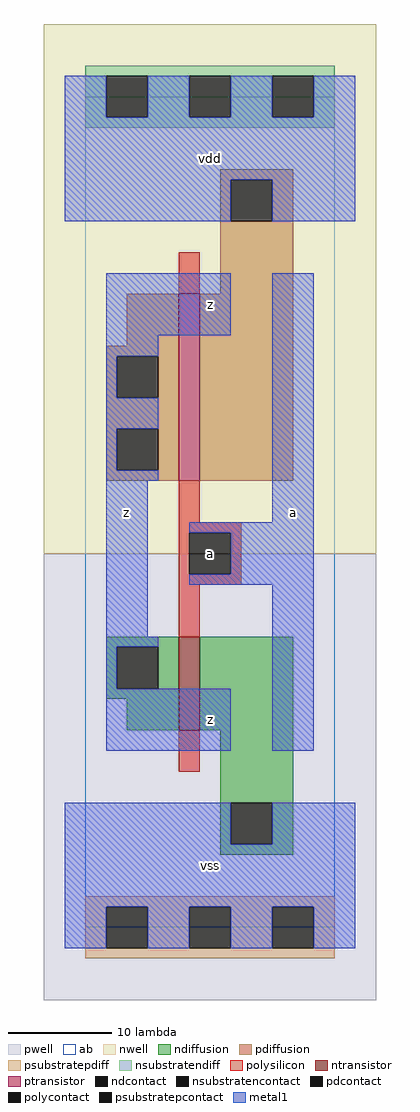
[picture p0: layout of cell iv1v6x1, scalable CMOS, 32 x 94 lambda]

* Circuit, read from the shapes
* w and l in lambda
.subckt iv1v6x1 a vdd vss z
M1 vss a z vss nfet w=9 l=2
M2 vdd a z vdd pfet w=18 l=2
.ends

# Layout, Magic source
magic
tech scmos
<< ab >>
rect 0 0 24 80
<< pwell >>
rect -4 -7 28 36
<< nwell >>
rect -4 36 28 87
<< polysilicon >>
rect 9 61 11 65
rect 9 39 11 43
rect 9 38 15 39
rect 9 34 10 38
rect 14 34 15 38
rect 9 33 15 34
rect 9 28 11 33
rect 9 15 11 19
<< ndiffusion >>
rect 2 27 9 28
rect 2 23 3 27
rect 7 23 9 27
rect 2 22 9 23
rect 4 19 9 22
rect 11 19 20 28
rect 13 12 20 19
rect 13 8 14 12
rect 18 8 20 12
rect 13 7 20 8
<< pdiffusion >>
rect 13 72 20 73
rect 13 68 14 72
rect 18 68 20 72
rect 13 61 20 68
rect 4 56 9 61
rect 2 55 9 56
rect 2 51 3 55
rect 7 51 9 55
rect 2 48 9 51
rect 2 44 3 48
rect 7 44 9 48
rect 2 43 9 44
rect 11 43 20 61
<< metal1 >>
rect -2 78 2 82
rect 6 78 10 82
rect 14 78 18 82
rect 22 78 26 82
rect -2 72 26 78
rect -2 68 14 72
rect 18 68 26 72
rect 2 57 14 63
rect 2 55 7 57
rect 2 51 3 55
rect 2 48 7 51
rect 2 44 3 48
rect 2 43 7 44
rect 2 28 6 43
rect 18 39 22 63
rect 10 38 22 39
rect 14 34 22 38
rect 10 33 22 34
rect 2 27 7 28
rect 2 23 3 27
rect 2 17 14 23
rect 18 17 22 33
rect -2 8 14 12
rect 18 8 26 12
rect -2 2 26 8
rect -2 -2 2 2
rect 6 -2 10 2
rect 14 -2 18 2
rect 22 -2 26 2
<< ntransistor >>
rect 9 19 11 28
<< ptransistor >>
rect 9 43 11 61
<< polycontact >>
rect 10 34 14 38
<< ndcontact >>
rect 3 23 7 27
rect 14 8 18 12
<< pdcontact >>
rect 14 68 18 72
rect 3 51 7 55
rect 3 44 7 48
<< psubstratepcontact >>
rect 2 -2 6 2
rect 10 -2 14 2
rect 18 -2 22 2
<< nsubstratencontact >>
rect 2 78 6 82
rect 10 78 14 82
rect 18 78 22 82
<< psubstratepdiff >>
rect 0 2 24 3
rect 0 -2 2 2
rect 6 -2 10 2
rect 14 -2 18 2
rect 22 -2 24 2
rect 0 -3 24 -2
<< nsubstratendiff >>
rect 0 82 24 83
rect 0 78 2 82
rect 6 78 10 82
rect 14 78 18 82
rect 22 78 24 82
rect 0 77 24 78
<< labels >>
rlabel metal1 4 40 4 40 6 z
rlabel metal1 12 6 12 6 6 vss
rlabel metal1 12 20 12 20 6 z
rlabel polycontact 12 36 12 36 6 a
rlabel metal1 12 60 12 60 6 z
rlabel metal1 12 74 12 74 6 vdd
rlabel metal1 20 40 20 40 6 a
<< end >>
